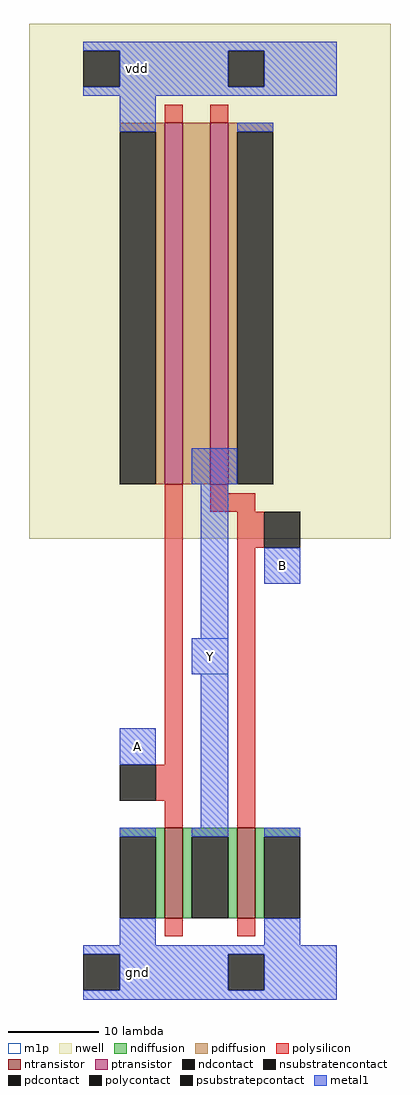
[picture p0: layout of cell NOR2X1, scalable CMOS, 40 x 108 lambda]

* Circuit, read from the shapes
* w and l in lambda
.subckt NOR2X1 A B Y gnd vdd
M1 Y A gnd gnd nfet w=10 l=2
M2 gnd B Y gnd nfet w=10 l=2
M3 n1 A vdd vdd pfet w=40 l=2
M4 Y B n1 vdd pfet w=40 l=2
.ends

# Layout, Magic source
magic
tech scmos
<< nwell >>
rect -8 48 32 105
<< ntransistor >>
rect 7 6 9 16
rect 15 6 17 16
<< ptransistor >>
rect 7 54 9 94
rect 12 54 14 94
<< ndiffusion >>
rect 2 15 7 16
rect 6 6 7 15
rect 9 15 15 16
rect 9 6 10 15
rect 14 6 15 15
rect 17 15 22 16
rect 17 6 18 15
<< pdiffusion >>
rect 2 93 7 94
rect 6 54 7 93
rect 9 54 12 94
rect 14 93 19 94
rect 14 54 15 93
<< ndcontact >>
rect 2 6 6 15
rect 10 6 14 15
rect 18 6 22 15
<< pdcontact >>
rect 2 54 6 93
rect 15 54 19 93
<< psubstratepcontact >>
rect -2 -2 2 2
rect 14 -2 18 2
<< nsubstratencontact >>
rect -2 98 2 102
rect 14 98 18 102
<< polysilicon >>
rect 7 94 9 96
rect 12 94 14 96
rect 7 23 9 54
rect 12 53 14 54
rect 12 51 17 53
rect 6 19 9 23
rect 7 16 9 19
rect 15 47 18 51
rect 15 16 17 47
rect 7 4 9 6
rect 15 4 17 6
<< polycontact >>
rect 2 19 6 23
rect 18 47 22 51
<< metal1 >>
rect -2 102 26 103
rect 2 98 14 102
rect 18 98 26 102
rect -2 97 26 98
rect 2 93 6 97
rect 15 93 19 94
rect 10 54 15 58
rect 11 37 14 54
rect 18 43 22 47
rect 10 33 14 37
rect 2 23 6 27
rect 11 16 14 33
rect 2 15 6 16
rect 10 15 14 16
rect 18 15 22 16
rect 2 3 6 6
rect 18 3 22 6
rect -2 2 26 3
rect 2 -2 14 2
rect 18 -2 26 2
rect -2 -3 26 -2
<< m1p >>
rect 18 43 22 47
rect 10 33 14 37
rect 2 23 6 27
<< labels >>
rlabel metal1 4 100 4 100 4 vdd
rlabel metal1 20 45 20 45 4 B
rlabel metal1 4 0 4 0 4 gnd
rlabel metal1 12 35 12 35 4 Y
rlabel metal1 4 25 4 25 4 A
<< end >>
